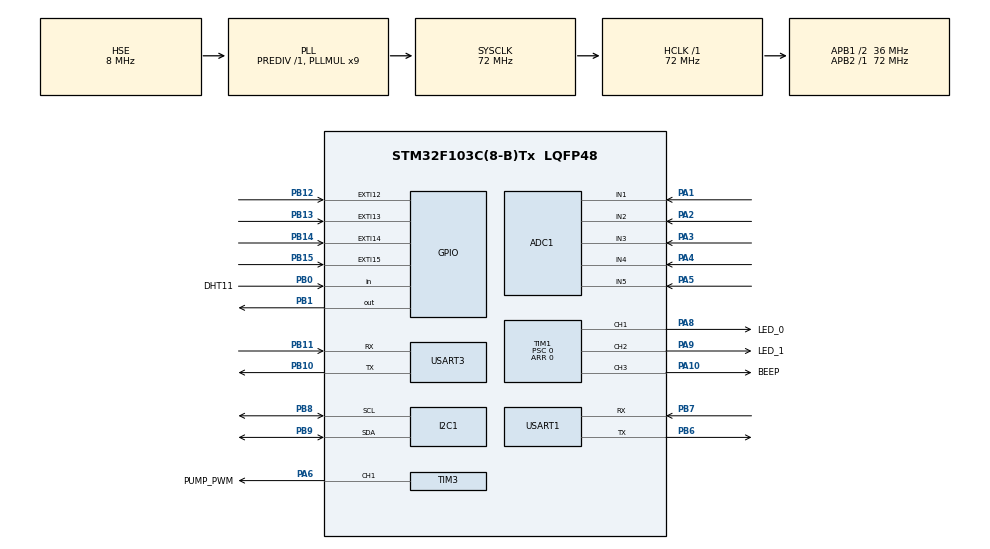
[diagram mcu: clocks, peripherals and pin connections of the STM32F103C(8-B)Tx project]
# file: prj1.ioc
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ADC1.Channel-4\#ChannelRegularConversion=ADC_CHANNEL_4
ADC1.Channel-5\#ChannelRegularConversion=ADC_CHANNEL_5
ADC1.Channel-6\#ChannelRegularConversion=ADC_CHANNEL_1
ADC1.Channel-7\#ChannelRegularConversion=ADC_CHANNEL_2
ADC1.Channel-8\#ChannelRegularConversion=ADC_CHANNEL_3
ADC1.ContinuousConvMode=ENABLE
ADC1.ExternalTrigConv=ADC_EXTERNALTRIGCONV_T4_CC4
ADC1.NbrOfConversion=5
ADC1.NbrOfConversionFlag=1
ADC1.Rank-4\#ChannelRegularConversion=1
ADC1.Rank-5\#ChannelRegularConversion=2
ADC1.Rank-6\#ChannelRegularConversion=3
ADC1.Rank-7\#ChannelRegularConversion=4
ADC1.Rank-8\#ChannelRegularConversion=5
ADC1.SamplingTime-4\#ChannelRegularConversion=ADC_SAMPLETIME_239CYCLES_5
ADC1.SamplingTime-5\#ChannelRegularConversion=ADC_SAMPLETIME_239CYCLES_5
ADC1.SamplingTime-6\#ChannelRegularConversion=ADC_SAMPLETIME_239CYCLES_5
ADC1.SamplingTime-7\#ChannelRegularConversion=ADC_SAMPLETIME_239CYCLES_5
ADC1.SamplingTime-8\#ChannelRegularConversion=ADC_SAMPLETIME_239CYCLES_5
ADC1.master=1
Dma.ADC1.0.Direction=DMA_PERIPH_TO_MEMORY
Dma.ADC1.0.Instance=DMA1_Channel1
Dma.ADC1.0.MemDataAlignment=DMA_MDATAALIGN_HALFWORD
Dma.ADC1.0.MemInc=DMA_MINC_ENABLE
Dma.ADC1.0.Mode=DMA_CIRCULAR
Dma.ADC1.0.PeriphDataAlignment=DMA_PDATAALIGN_HALFWORD
Dma.ADC1.0.PeriphInc=DMA_PINC_DISABLE
Dma.ADC1.0.Priority=DMA_PRIORITY_LOW
Dma.Request0=ADC1
Dma.Request1=USART3_TX
Dma.Request2=USART3_RX
Dma.USART3_RX.2.Direction=DMA_PERIPH_TO_MEMORY
Dma.USART3_RX.2.Instance=DMA1_Channel3
Dma.USART3_RX.2.MemDataAlignment=DMA_MDATAALIGN_BYTE
Dma.USART3_RX.2.MemInc=DMA_MINC_ENABLE
Dma.USART3_RX.2.Mode=DMA_CIRCULAR
Dma.USART3_RX.2.PeriphDataAlignment=DMA_PDATAALIGN_BYTE
Dma.USART3_RX.2.PeriphInc=DMA_PINC_DISABLE
Dma.USART3_RX.2.Priority=DMA_PRIORITY_LOW
Dma.USART3_TX.1.Direction=DMA_MEMORY_TO_PERIPH
Dma.USART3_TX.1.Instance=DMA1_Channel2
Dma.USART3_TX.1.MemDataAlignment=DMA_MDATAALIGN_BYTE
Dma.USART3_TX.1.MemInc=DMA_MINC_ENABLE
Dma.USART3_TX.1.Mode=DMA_NORMAL
Dma.USART3_TX.1.PeriphDataAlignment=DMA_PDATAALIGN_BYTE
Dma.USART3_TX.1.PeriphInc=DMA_PINC_DISABLE
Dma.USART3_TX.1.Priority=DMA_PRIORITY_LOW
I2C1.I2C_Mode=I2C_Fast
Mcu.Family=STM32F1
Mcu.Name=STM32F103C(8-B)Tx
Mcu.Package=LQFP48
NVIC.ADC1_2_IRQn=true\:0\:0\:false\:false\:true\:true\:true\:true
NVIC.DMA1_Channel1_IRQn=true\:0\:0\:false\:false\:true\:false\:true\:true
NVIC.DMA1_Channel2_IRQn=true\:0\:0\:false\:false\:true\:false\:true\:true
NVIC.DMA1_Channel3_IRQn=true\:0\:0\:false\:false\:true\:false\:true\:true
NVIC.EXTI15_10_IRQn=true\:1\:0\:true\:false\:true\:true\:true\:true
NVIC.PriorityGroup=NVIC_PRIORITYGROUP_4
NVIC.TIM2_IRQn=true\:2\:0\:true\:false\:true\:true\:true\:true
NVIC.USART3_IRQn=true\:0\:0\:false\:false\:true\:true\:true\:true
PA1.Signal=ADCx_IN1
PA10.GPIO_Label=BEEP
PA10.Signal=S_TIM1_CH3
PA13.Mode=Serial_Wire
PA13.Signal=SYS_JTMS-SWDIO
PA14.Mode=Serial_Wire
PA14.Signal=SYS_JTCK-SWCLK
PA2.Signal=ADCx_IN2
PA3.Signal=ADCx_IN3
PA4.Signal=ADCx_IN4
PA5.Signal=ADCx_IN5
PA6.GPIO_Label=PUMP_PWM
PA6.Signal=S_TIM3_CH1
PA8.GPIO_Label=LED_0
PA8.Signal=S_TIM1_CH1
PA9.GPIO_Label=LED_1
PA9.Signal=S_TIM1_CH2
PB0.GPIO_Label=DHT11
PB0.GPIO_Mode=GPIO_MODE_INPUT
PB0.GPIO_PuPd=GPIO_PULLUP
PB0.Signal=GPIO_Input
PB1.Signal=GPIO_Output
PB10.Mode=Asynchronous
PB10.Signal=USART3_TX
PB11.Mode=Asynchronous
PB11.Signal=USART3_RX
PB12.GPIO_PuPd=GPIO_PULLDOWN
PB12.Signal=GPXTI12
PB13.GPIO_PuPd=GPIO_PULLDOWN
PB13.Signal=GPXTI13
PB14.GPIO_PuPd=GPIO_PULLDOWN
PB14.Signal=GPXTI14
PB15.GPIO_PuPd=GPIO_PULLDOWN
PB15.Signal=GPXTI15
PB6.Mode=Asynchronous
PB6.Signal=USART1_TX
PB7.Mode=Asynchronous
PB7.Signal=USART1_RX
PB8.Mode=I2C
PB8.Signal=I2C1_SCL
PB9.Mode=I2C
PB9.Signal=I2C1_SDA
PC14-OSC32_IN.Mode=LSE-External-Oscillator
PC14-OSC32_IN.Signal=RCC_OSC32_IN
PC15-OSC32_OUT.Mode=LSE-External-Oscillator
PC15-OSC32_OUT.Signal=RCC_OSC32_OUT
PD0-OSC_IN.Mode=HSE-External-Oscillator
PD0-OSC_IN.Signal=RCC_OSC_IN
PD1-OSC_OUT.Mode=HSE-External-Oscillator
PD1-OSC_OUT.Signal=RCC_OSC_OUT
ProjectManager.HeapSize=0x200
ProjectManager.StackSize=0x400
ProjectManager.TargetToolchain=STM32CubeIDE
RCC.ADCPresc=RCC_ADCPCLK2_DIV6
RCC.AHBFreq_Value=72000000
RCC.APB1CLKDivider=RCC_HCLK_DIV2
RCC.APB1Freq_Value=36000000
RCC.APB1TimFreq_Value=72000000
RCC.APB2Freq_Value=72000000
RCC.APB2TimFreq_Value=72000000
RCC.HCLKFreq_Value=72000000
RCC.PLLMUL=RCC_PLL_MUL9
RCC.PLLSourceVirtual=RCC_PLLSOURCE_HSE
RCC.RTCClockSelection=RCC_RTCCLKSOURCE_LSE
RCC.SYSCLKFreq_VALUE=72000000
RCC.SYSCLKSource=RCC_SYSCLKSOURCE_PLLCLK
RCC.USBFreq_Value=48000000
RCC.USBPrescaler=RCC_USBCLKSOURCE_PLL_DIV1_5
SH.ADCx_IN1.0=ADC1_IN1,IN1
SH.ADCx_IN2.0=ADC1_IN2,IN2
SH.ADCx_IN3.0=ADC1_IN3,IN3
SH.ADCx_IN4.0=ADC1_IN4,IN4
SH.ADCx_IN5.0=ADC1_IN5,IN5
SH.S_TIM1_CH1.0=TIM1_CH1,PWM Generation1 CH1
SH.S_TIM1_CH2.0=TIM1_CH2,PWM Generation2 CH2
SH.S_TIM1_CH3.0=TIM1_CH3,PWM Generation3 CH3
SH.S_TIM3_CH1.0=TIM3_CH1,PWM Generation1 CH1
TIM1.Channel-PWM\ Generation1\ CH1=TIM_CHANNEL_1
TIM1.Channel-PWM\ Generation2\ CH2=TIM_CHANNEL_2
TIM1.Channel-PWM\ Generation3\ CH3=TIM_CHANNEL_3
TIM1.OCIdleState_2=TIM_OCIDLESTATE_SET
TIM1.OCMode_PWM-PWM\ Generation1\ CH1=TIM_OCMODE_PWM2
TIM1.OCMode_PWM-PWM\ Generation2\ CH2=TIM_OCMODE_PWM1
TIM1.OCPolarity_2=TIM_OCPOLARITY_HIGH
TIM1.Period=0
TIM1.Prescaler=0
TIM1.Pulse-PWM\ Generation1\ CH1=1
TIM1.Pulse-PWM\ Generation2\ CH2=70
TIM1.Pulse-PWM\ Generation3\ CH3=1
TIM2.Period=10000-1
TIM2.Prescaler=7200-1
TIM3.Channel-PWM\ Generation1\ CH1=TIM_CHANNEL_1
TIM3.Period=720
TIM3.Prescaler=0
TIM3.Pulse-PWM\ Generation1\ CH1=0
TIM4.Channel-Output\ Compare4\ No\ Output=TIM_CHANNEL_4
TIM4.OCMode_4=TIM_OCMODE_TOGGLE
TIM4.Period=72-1
TIM4.Pulse-Output\ Compare4\ No\ Output=36
USART1.VirtualMode=VM_ASYNC
USART3.VirtualMode=VM_ASYNC
VP_TIM1_VS_ClockSourceINT.Mode=Internal
VP_TIM2_VS_ClockSourceINT.Mode=Internal
VP_TIM3_VS_ClockSourceINT.Mode=Internal
VP_TIM4_VS_ClockSourceINT.Mode=Internal
VP_TIM4_VS_no_output4.Mode=Output Compare4 No Output
board=custom

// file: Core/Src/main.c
/* USER CODE BEGIN Header */
/**
  ******************************************************************************
  * @file           : main.c
  * @brief          : Main program body
  ******************************************************************************
  * @attention
  *
  * Copyright (c) 2024 STMicroelectronics.
  * All rights reserved.
  *
  * This software is licensed under terms that can be found in the LICENSE file
  * in the root directory of this software component.
  * If no LICENSE file comes with this software, it is provided AS-IS.
  *
  ******************************************************************************
  */
/* USER CODE END Header */
#include "main.h"

/* USER CODE BEGIN Includes */
//#include "usbd_cdc_if.h"
#include "ssd1306_Views.h"
#include "buzzer.h"

#include "AT_WIFI.h"
#include "DHT.h"
#include <stdio.h>
#include <string.h>

/* USER CODE END Includes */

/* USER CODE BEGIN PTD */
#define CDC_BUFFER_SIZE 30

/* USER CODE END PTD */

ADC_HandleTypeDef hadc1;
DMA_HandleTypeDef hdma_adc1;

I2C_HandleTypeDef hi2c1;

TIM_HandleTypeDef htim1;
TIM_HandleTypeDef htim2;
TIM_HandleTypeDef htim3;
TIM_HandleTypeDef htim4;

UART_HandleTypeDef huart1;
UART_HandleTypeDef huart3;
DMA_HandleTypeDef hdma_usart3_tx;
DMA_HandleTypeDef hdma_usart3_rx;

/* USER CODE BEGIN PV */

//extern USBD_HandleTypeDef hUsbDeviceFS;

/* USER CODE END PV */

void SystemClock_Config(void);
static void MX_GPIO_Init(void);
static void MX_DMA_Init(void);
static void MX_ADC1_Init(void);
static void MX_I2C1_Init(void);
static void MX_USART1_UART_Init(void);
static void MX_USART3_UART_Init(void);
static void MX_TIM1_Init(void);
static void MX_TIM3_Init(void);
static void MX_TIM4_Init(void);
static void MX_TIM2_Init(void);
/* USER CODE BEGIN PFP */

extern ESP_Config esp_config;

uint8_t CDC_BUFFER[CDC_BUFFER_SIZE]={0};

uint16_t ADC_BUFFER = 0;

uint16_t PUMP_PWM=100;

uint8_t FLAG_MUTE = 1;

uint16_t PUMP[5]={0,0};

WiFiInfoTypeDef WiFiInfo={0};
IPInfoTypeDef IPInfo={0};
DHT_data DHT11_Info={0};
DHT_data DHT11_Alarm_H={70,30};
DHT_data DHT11_Alarm_L={30,20};

DHT_sensor DHT11_Sensor = {GPIOB, GPIO_PIN_0, DHT11, GPIO_NOPULL};
BuzzerTypeDef buzzer = {&htim1, TIM_CHANNEL_3, 100, 36};

uint8_t CurrentView=1;

char *settings[] = {"TempH", "TempL", "Hum H", "Hum L"};
uint8_t FLAG_NowSettingVal = 1;
uint8_t FLAG_CheckWifi = 1;
uint8_t FLAG_CheckDHT = 1;
uint8_t FLAG_SentTCP = 1;
uint8_t FLAG_CheckSoil = 1;

uint8_t FLAG_DHT_ALARM=0;

volatile uint32_t CNT_TIMER2 = 0;

typedef struct {
    uint32_t hours;
    uint32_t minutes;
    uint32_t seconds;
} TimeTypedef;

TimeTypedef Time={0};
TimeTypedef ALARM_Time={0};
uint32_t ALARM_Time_Second=0;

char *TimerStates[] = {"Wake", "Sleep", "Normal"};
uint8_t FLAG_CurrentTimerStates = 2;

volatile uint8_t FLAG_SentKEY0 = 0;
volatile uint8_t FLAG_SentKEY1 = 0;
volatile uint8_t FLAG_SentKEY2 = 0;
volatile uint8_t FLAG_SentKEY3 = 0;

uint16_t PWM_LED1_VAL=0;
uint8_t PWM_LED_Inverse=1;

/* USER CODE END PFP */

/* USER CODE BEGIN 0 */
void convertSecondsToTime(uint32_t total_seconds, TimeTypedef* time)
{
    time->hours = total_seconds / 3600;
    time->minutes = (total_seconds%3600) / 60;
    time->seconds = total_seconds % 60;
}

uint32_t convertTimeToSeconds(TimeTypedef* time) {
    return (time->hours * 3600) + (time->minutes * 60) + time->seconds;
}

void ssd1306_NoticeView(const char* notice)
{
    uint8_t msg[100];
    ssd1306_Fill(Black);
    ssd1306_SetCursor(0, 0);
    sprintf((char*)msg, "NOTICE");
    ssd1306_WriteString((char*)msg, Font_11x18, White);
    ssd1306_SetCursor(0, 30);
    sprintf((char*)msg, "%s", notice);
    ssd1306_WriteString((char*)msg, Font_11x18, White);
    ssd1306_UpdateScreen();
}

void ssd1306_WelcomeView(){
	uint8_t msg[100];
	ssd1306_Fill(Black);
	ssd1306_SetCursor(0, 0);
	sprintf(msg, "BOOTING");
	ssd1306_WriteString(msg, Font_11x18, White);
	ssd1306_SetCursor(0, 25);
	sprintf(msg, "Course PrjC");
	ssd1306_WriteString(msg, Font_11x18, White);
	ssd1306_SetCursor(0, 50);
	sprintf(msg, "Initialing...");
	ssd1306_WriteString(msg, Font_7x10, White);
	ssd1306_UpdateScreen();
}

void ssd1306_IndexView(){
	uint8_t msg[100];
	ssd1306_Fill(Black);
	ssd1306_SetCursor(0, 0);
	sprintf(msg, "Index");
	ssd1306_WriteString(msg, Font_11x18, White);

	ssd1306_SetCursor(70, 0);
	sprintf(msg, "%s",TimerStates[FLAG_CurrentTimerStates]);
	ssd1306_WriteString(msg, Font_7x10, White);

	ssd1306_SetCursor(0, 18);
	sprintf(msg, "RUN TIME");
	ssd1306_WriteString(msg, Font_6x8, White);
	ssd1306_SetCursor(0, 26);
	sprintf(msg, "%02u:%02u:%02u", Time.hours, Time.minutes, Time.seconds);
	ssd1306_WriteString(msg, Font_7x10, White);

	ssd1306_SetCursor(64, 18);
	sprintf(msg, "SET RUN TIME");
	ssd1306_WriteString(msg, Font_6x8, White);
	ssd1306_SetCursor(64, 26);
	sprintf(msg, "%02u:%02u:%02u", ALARM_Time.hours, ALARM_Time.minutes, ALARM_Time.seconds);
	ssd1306_WriteString(msg, Font_7x10, White);

	ssd1306_SetCursor(0, 40);
	sprintf(msg, "DHT:%s\n", FLAG_DHT_ALARM ? "ALARM" : "NORMAL");
	ssd1306_WriteString(msg, Font_7x10, White);

	ssd1306_SetCursor(0 , 56);
	sprintf(msg, "DHT");
	ssd1306_WriteString(msg, Font_6x8, White);
	ssd1306_SetCursor(32, 56);
	sprintf(msg, "PUMP");
	ssd1306_WriteString(msg, Font_6x8, White);
	ssd1306_SetCursor(64, 56);
	sprintf(msg, "BEEP");
	ssd1306_WriteString(msg, Font_6x8, White);
	ssd1306_SetCursor(96, 56);
	sprintf(msg, "NET");
	ssd1306_WriteString(msg, Font_6x8, White);
	ssd1306_UpdateScreen();
}

void ssd1306_NetWorkView(){
	uint8_t msg[100];
	ssd1306_Fill(Black);
	ssd1306_SetCursor(0, 0);
	sprintf(msg, "NETWORK %d",WiFiInfo.rssi);
	ssd1306_WriteString(msg, Font_11x18, White);
	ssd1306_SetCursor(0, 18);
	sprintf(msg, "%s",esp_config.ap_ssid);
	ssd1306_WriteString(msg, Font_7x10, White);
	ssd1306_SetCursor(0, 31);
	sprintf(msg, "AP :%s",IPInfo.AP_IP);
	ssd1306_WriteString(msg, Font_7x10, White);
	ssd1306_SetCursor(0, 43);
	sprintf(msg, "%s",WiFiInfo.ssid);
	ssd1306_WriteString(msg, Font_7x10, White);
	ssd1306_SetCursor(0, 54);
	sprintf(msg, "STA:%s",IPInfo.STA_IP);
	ssd1306_WriteString(msg, Font_7x10, White);
	ssd1306_UpdateScreen();
}

void ssd1306_SensorView(){
	uint8_t msg[100];
	ssd1306_Fill(Black);
	ssd1306_SetCursor(0, 0);
	sprintf(msg, "SENSOR");
	ssd1306_WriteString(msg, Font_11x18, White);
	ssd1306_SetCursor(0, 18);
	sprintf(msg, "T:%dC",(uint8_t)DHT11_Info.temp);
	ssd1306_WriteString(msg, Font_11x18, White);
	ssd1306_SetCursor(64, 18);
	sprintf(msg, "H:%d%%",(uint8_t)DHT11_Info.hum);
	ssd1306_WriteString(msg, Font_11x18, White);
	ssd1306_SetCursor(0, 36);
	sprintf(msg, "L:%d",(uint8_t)DHT11_Alarm_L.temp);
	ssd1306_WriteString(msg, Font_7x10, White);
	ssd1306_SetCursor(32, 36);
	sprintf(msg, "H:%d",(uint8_t)DHT11_Alarm_H.temp);
	ssd1306_WriteString(msg, Font_7x10, White);
	ssd1306_SetCursor(64, 36);
	sprintf(msg, "L:%d",(uint8_t)DHT11_Alarm_L.hum);
	ssd1306_WriteString(msg, Font_7x10, White);
	ssd1306_SetCursor(96, 36);
	sprintf(msg, "H:%d",(uint8_t)DHT11_Alarm_H.hum);
	ssd1306_WriteString(msg, Font_7x10, White);
	ssd1306_SetCursor(0, 46);
	sprintf(msg, "SOIL");
	ssd1306_WriteString(msg, Font_7x10, White);
	ssd1306_SetCursor(32, 46);
	sprintf(msg, "%d",PUMP[2]);
	ssd1306_WriteString(msg, Font_7x10, White);
	ssd1306_SetCursor(64, 46);
	sprintf(msg, "%d",PUMP[3]);
	ssd1306_WriteString(msg, Font_7x10, White);
	ssd1306_SetCursor(96, 46);
	sprintf(msg, "%d",PUMP[4]);
	ssd1306_WriteString(msg, Font_7x10, White);
	ssd1306_SetCursor(0 , 56);
	sprintf(msg, "<");
	ssd1306_WriteString(msg, Font_6x8, White);
	ssd1306_SetCursor(16, 56);
	sprintf(msg, "%s", settings[FLAG_NowSettingVal]);
	ssd1306_WriteString(msg, Font_6x8, White);
	ssd1306_SetCursor(64, 56);
	sprintf(msg, " \\/");
	ssd1306_WriteString(msg, Font_6x8, White);
	ssd1306_SetCursor(96, 56);
	sprintf(msg, " /\\");
	ssd1306_WriteString(msg, Font_6x8, White);
	ssd1306_UpdateScreen();
}

void ssd1306_PumpView(){
	uint8_t msg[100];
	ssd1306_Fill(Black);
	ssd1306_SetCursor(0, 0);
	sprintf(msg, "PUMP");
	ssd1306_WriteString(msg, Font_11x18, White);

	ssd1306_SetCursor(70, 0);
	sprintf(msg, "%s",TimerStates[FLAG_CurrentTimerStates]);
	ssd1306_WriteString(msg, Font_7x10, White);

	ssd1306_SetCursor(0, 18);
	sprintf(msg, "U:%d\r\n", PUMP[0]);
	ssd1306_WriteString(msg, Font_11x18, White);
	ssd1306_SetCursor(64, 18);
	sprintf(msg, "I:%d\r\n", PUMP[1]);
	ssd1306_WriteString(msg, Font_11x18, White);
	ssd1306_SetCursor(0, 36);
	sprintf(msg, "Duty:%d", PUMP_PWM);
	ssd1306_WriteString(msg, Font_11x18, White);
	ssd1306_SetCursor(110, 36);
	sprintf(msg, "MAX");
	ssd1306_WriteString(msg, Font_6x8, White);
	ssd1306_SetCursor(110, 45);
	sprintf(msg, "720");
	ssd1306_WriteString(msg, Font_6x8, White);
	ssd1306_SetCursor(0 , 56);
	sprintf(msg, "<");
	ssd1306_WriteString(msg, Font_6x8, White);
	ssd1306_SetCursor(16, 56);
	sprintf(msg, "TimeSet");
	ssd1306_WriteString(msg, Font_6x8, White);
	ssd1306_SetCursor(64, 56);
	sprintf(msg, " \\/");
	ssd1306_WriteString(msg, Font_6x8, White);
	ssd1306_SetCursor(96, 56);
	sprintf(msg, " /\\");
	ssd1306_WriteString(msg, Font_6x8, White);
	ssd1306_UpdateScreen();
}

void ssd1306_BuzzerView(){
	uint8_t msg[100];
	ssd1306_Fill(Black);
	ssd1306_SetCursor(0, 0);
	sprintf(msg, "BUZZER");
	ssd1306_WriteString(msg, Font_11x18, White);
	ssd1306_SetCursor(0, 18);
	sprintf(msg, "FREQ:%d\r\n",buzzer.frequency );
	ssd1306_WriteString(msg, Font_11x18, White);
	ssd1306_SetCursor(0, 36);
    sprintf(msg, "MUTE: %s\r\n", FLAG_MUTE ? "ON" : "OFF");
    ssd1306_WriteString(msg, Font_11x18, White);
	ssd1306_SetCursor(0 , 56);
	sprintf(msg, "<");
	ssd1306_WriteString(msg, Font_6x8, White);
	ssd1306_SetCursor(24, 56);
	sprintf(msg, "MUTE");
	ssd1306_WriteString(msg, Font_6x8, White);
	ssd1306_SetCursor(64, 56);
	sprintf(msg, " \\/");
	ssd1306_WriteString(msg, Font_6x8, White);
	ssd1306_SetCursor(96, 56);
	sprintf(msg, " /\\");
	ssd1306_WriteString(msg, Font_6x8, White);
	ssd1306_UpdateScreen();
}

ssd1306_ConfigView(){
	uint8_t msg[100];
	ssd1306_Fill(Black);
	ssd1306_SetCursor(0, 0);
	sprintf(msg, "CONFIG");
	ssd1306_WriteString(msg, Font_11x18, White);
	ssd1306_SetCursor(70, 0);
	sprintf(msg, "%s",TimerStates[FLAG_CurrentTimerStates]);
	ssd1306_WriteString(msg, Font_7x10, White);
	ssd1306_SetCursor(0, 18);
	sprintf(msg, "RUN TIME");
	ssd1306_WriteString(msg, Font_6x8, White);
	ssd1306_SetCursor(0, 26);
	sprintf(msg, "%02u:%02u:%02u", Time.hours, Time.minutes, Time.seconds);
	ssd1306_WriteString(msg, Font_7x10, White);
	ssd1306_SetCursor(0, 36);
	sprintf(msg, "SET TIME");
	ssd1306_WriteString(msg, Font_6x8, White);
	ssd1306_SetCursor(0, 44);
	sprintf(msg, "%02u:%02u:%02u", ALARM_Time.hours, ALARM_Time.minutes, ALARM_Time.seconds);
	ssd1306_WriteString(msg, Font_7x10, White);
	ssd1306_SetCursor(0, 56);
	sprintf(msg, "<");
	ssd1306_WriteString(msg, Font_6x8, White);
	ssd1306_SetCursor(32, 56);
	sprintf(msg, "+h");
	ssd1306_WriteString(msg, Font_6x8, White);
	ssd1306_SetCursor(64, 56);
	sprintf(msg, "+m");
	ssd1306_WriteString(msg, Font_6x8, White);
	ssd1306_SetCursor(96, 56);
	sprintf(msg, "+s");
	ssd1306_WriteString(msg, Font_6x8, White);
	ssd1306_UpdateScreen();
}

void KeyHandeler_WelcomeView(){

}
void KeyHandeler_IndexView(){
	if (FLAG_SentKEY0) {
		CurrentView=V_NETWORK;
		HAL_Delay(200);
		FLAG_SentKEY0=0;
	}else
	if (FLAG_SentKEY1) {
		CurrentView=V_BUZZER;
		HAL_Delay(200);
		FLAG_SentKEY1=0;
	}else
	if (FLAG_SentKEY2) {
		CurrentView=V_PUMP;
		HAL_Delay(200);
		FLAG_SentKEY2=0;
	}else
	if (FLAG_SentKEY3) {
		CurrentView=V_SENSOR;
		HAL_Delay(200);
		FLAG_SentKEY3=0;
	}
}

void KeyHandeler_NetWorkView(){
	if (FLAG_SentKEY0) {
		ssd1306_NoticeView("RESET_SERVER");
		ESP_RESET_SERVER();
		HAL_Delay(200);
		FLAG_SentKEY0=0;
	}else
	if (FLAG_SentKEY1) {
		ssd1306_NoticeView("INIT_BASE");
		ESP_INIT_BASE();
		HAL_Delay(200);
		FLAG_SentKEY1=0;
	}else
	if (FLAG_SentKEY2) {
		ssd1306_NoticeView("INIT_FULL");
		ESP_INIT_FULL();
		HAL_Delay(200);
		FLAG_SentKEY2=0;
	}else
	if (FLAG_SentKEY3) {
		CurrentView=V_INDEX;
		HAL_Delay(200);
		FLAG_SentKEY3=0;
	}
}
void KeyHandeler_SensorView(){
	if (FLAG_SentKEY0) {
		switch (FLAG_NowSettingVal) {
			case 0:
				DHT11_Alarm_H.temp++;
				break;
			case 1:
				DHT11_Alarm_L.temp++;
				break;
			case 2:
				DHT11_Alarm_H.hum++;
				break;
			case 3:
				DHT11_Alarm_L.hum++;
				break;
			default:
				break;
		}
		HAL_Delay(200);
		FLAG_SentKEY0=0;
	}else
	if (FLAG_SentKEY1) {
		switch (FLAG_NowSettingVal) {
			case 0:
				DHT11_Alarm_H.temp--;
				break;
			case 1:
				DHT11_Alarm_L.temp--;
				break;
			case 2:
				DHT11_Alarm_H.hum--;
				break;
			case 3:
				DHT11_Alarm_L.hum--;
				break;
			default:
				break;
		}
		HAL_Delay(200);
		FLAG_SentKEY1=0;
	}else
	if (FLAG_SentKEY2) {
		if (FLAG_NowSettingVal++>2) {
			FLAG_NowSettingVal=0;
		}
		HAL_Delay(200);
		FLAG_SentKEY2=0;
	}else
	if (FLAG_SentKEY3) {
		CurrentView=V_INDEX;
		HAL_Delay(200);
		FLAG_SentKEY3=0;
	}
}
void KeyHandeler_PumpView(){
	if (FLAG_SentKEY0) {
		PUMP_PWM=PUMP_PWM+10;
	    __HAL_TIM_SET_COMPARE(&htim3, TIM_CHANNEL_1, PUMP_PWM);
		HAL_Delay(200);
		FLAG_SentKEY0=0;
	}else
	if (FLAG_SentKEY1) {
		PUMP_PWM=PUMP_PWM-10;
	    __HAL_TIM_SET_COMPARE(&htim3, TIM_CHANNEL_1, PUMP_PWM);
		HAL_Delay(200);
		FLAG_SentKEY1=0;
	}else
	if (FLAG_SentKEY2) {
		CurrentView=V_CONFIG;
		if (++FLAG_CurrentTimerStates>2) {
			FLAG_CurrentTimerStates=0;
		}
		HAL_Delay(200);
		FLAG_SentKEY2=0;
	}else
	if (FLAG_SentKEY3) {
		CurrentView=V_INDEX;
		HAL_Delay(200);
		FLAG_SentKEY3=0;
	}
}
void KeyHandeler_BuzzerView(){
	if (FLAG_SentKEY0) {
		buzzer.frequency=buzzer.frequency+10;
		Buzzer_SetFrequency(&buzzer, buzzer.frequency);
		HAL_Delay(200);
		FLAG_SentKEY0=0;
	}else
	if (FLAG_SentKEY1) {
		buzzer.frequency=buzzer.frequency-10;
		Buzzer_SetFrequency(&buzzer, buzzer.frequency);
		HAL_Delay(200);
		FLAG_SentKEY1=0;
	}else
	if (FLAG_SentKEY2) {
		if (FLAG_MUTE) {
			Buzzer_SetVolume(&buzzer, 36);
			FLAG_MUTE=0;
		}else {
			Buzzer_SetVolume(&buzzer, 0);
			FLAG_MUTE=1;
		}
		HAL_Delay(200);
		FLAG_SentKEY2=0;
	}else
	if (FLAG_SentKEY3) {
		CurrentView=V_INDEX;
		HAL_Delay(200);
		FLAG_SentKEY3=0;
	}
}
void KeyHandeler_ConfigView(){
	if (FLAG_SentKEY0) {
		if (++ALARM_Time.seconds>60) {
			ALARM_Time.seconds=0;
		}
		ALARM_Time_Second=convertTimeToSeconds(&ALARM_Time);
		HAL_Delay(200);
		FLAG_SentKEY0=0;
	}else
	if (FLAG_SentKEY1) {
		if (++ALARM_Time.minutes>60) {
			ALARM_Time.minutes=0;
		}
		ALARM_Time_Second=convertTimeToSeconds(&ALARM_Time);
		HAL_Delay(200);
		FLAG_SentKEY1=0;
	}else
	if (FLAG_SentKEY2) {
		if (++ALARM_Time.hours>24) {
			ALARM_Time.hours=0;
		}
		ALARM_Time_Second=convertTimeToSeconds(&ALARM_Time);
		HAL_Delay(200);
		FLAG_SentKEY2=0;
	}else
	if (FLAG_SentKEY3) {
		CurrentView=V_PUMP;
		HAL_Delay(200);
		FLAG_SentKEY3=0;
	}

}

void KeyHandeler(uint8_t SWView) {
	if (SWView == V_WELCOME) {
	    KeyHandeler_WelcomeView();
	} else if (SWView == V_INDEX) {
	    KeyHandeler_IndexView();
	} else if (SWView == V_NETWORK) {
	    KeyHandeler_NetWorkView();
	} else if (SWView == V_SENSOR) {
	    KeyHandeler_SensorView();
	} else if (SWView == V_PUMP) {
	    KeyHandeler_PumpView();
	} else if (SWView == V_BUZZER) {
	    KeyHandeler_BuzzerView();
	} else if (SWView == V_CONFIG) {
	    KeyHandeler_ConfigView();
	}
}

void ShowView(uint8_t SWView) {
    switch (SWView) {
        case V_WELCOME:
            ssd1306_WelcomeView();
            break;
        case V_INDEX:
            ssd1306_IndexView();
            break;
        case V_NETWORK:
            ssd1306_NetWorkView();
            break;
        case V_SENSOR:
            ssd1306_SensorView();
            break;
        case V_PUMP:
            ssd1306_PumpView();
            break;
        case V_BUZZER:
            ssd1306_BuzzerView();
            break;
        case V_CONFIG:
		   ssd1306_ConfigView();
		   break;

        default:
            // Handle invalid view case
            break;
    }
}

uint8_t check_DHT11_Alarm(DHT_data current_data, DHT_data alarm_high, DHT_data alarm_low) {
    if (current_data.hum > alarm_high.hum || current_data.hum < alarm_low.hum ||
        current_data.temp > alarm_high.temp || current_data.temp < alarm_low.temp) {
        return 1;
    }
    return 0;
}

/* USER CODE END 0 */

int main(void)
{

  /* MCU Configuration--------------------------------------------------------*/

  /* Reset of all peripherals, Initializes the Flash interface and the Systick. */
  HAL_Init();

  /* Configure the system clock */
  SystemClock_Config();

  /* Initialize all configured peripherals */
  MX_GPIO_Init();
  MX_DMA_Init();
  MX_ADC1_Init();
  MX_I2C1_Init();
  MX_USART1_UART_Init();
  MX_USART3_UART_Init();
  MX_TIM1_Init();
  MX_TIM3_Init();
  MX_TIM4_Init();
  MX_TIM2_Init();
  /* USER CODE BEGIN 2 */
  HAL_ADC_Start(&hadc1);
  ssd1306_Init();
  ssd1306_WelcomeView();

  HAL_TIM_Base_Start_IT(&htim2);

  HAL_TIM_Base_Start(&htim1);
  HAL_TIM_PWM_Start(&htim1, TIM_CHANNEL_1);
  HAL_TIM_PWM_Start(&htim1, TIM_CHANNEL_2);
//  HAL_TIM_PWM_Start(&htim1, TIM_CHANNEL_3);

  HAL_TIM_Base_Start(&htim3);
  HAL_TIM_PWM_Start(&htim3, TIM_CHANNEL_1);
  HAL_TIM_Base_Start(&htim4);

  HAL_ADC_Start_DMA(&hadc1, (uint32_t*)PUMP, 5);

  ESP_UART_Init(&huart3);
//  ESP_INIT_FULL();
  ESP_INIT_BASE();
  HAL_Delay(100);

	WiFiInfo=ESP_CheckWiFi();
	  HAL_Delay(100);
	IPInfo=ESP_GetIPInfo();
  ssd1306_NetWorkView();

  Buzzer_Init(&buzzer);
  Buzzer_SetVolume(&buzzer, 36);

  HAL_Delay(100);
  Buzzer_SetFrequency(&buzzer, 200);
  HAL_Delay(100);
  Buzzer_SetFrequency(&buzzer, 300);
  HAL_Delay(100);
  Buzzer_SetFrequency(&buzzer, 400);
  HAL_Delay(100);
  Buzzer_SetFrequency(&buzzer, 500);
  HAL_Delay(100);

//  playMelody(&buzzer);

  Buzzer_SetVolume(&buzzer, 0);
  HAL_Delay(100);

  /* USER CODE END 2 */

  /* Infinite loop */
  /* USER CODE BEGIN WHILE */
  while (1)
  {

	  if (FLAG_CheckDHT) {
			DHT11_Info = DHT_getData(&DHT11_Sensor);
			FLAG_DHT_ALARM=check_DHT11_Alarm(DHT11_Info, DHT11_Alarm_H, DHT11_Alarm_L);
			FLAG_CheckDHT=0;
		}

		if (FLAG_SentTCP) {
			uint8_t msg[1000];
//			sprintf(msg, "DATA:T:%lf,H:%lf,Duty:%d,U:%d,I:%d\r\n", DHT11_Info.temp,DHT11_Info.hum,PUMP_PWM,PUMP[0],PUMP[1]);

			sprintf(msg,
			    "DATA:T:%.2lf,H:%.2lf,Duty:%d,U:%d,I:%d,Soil CH1:%d,Soil CH1:%d,Soil CH1:%d,CurrentView:%d,AlarmTime:%02d:%02d:%02d,"
			    "TempH:%d,TempL:%d,HumH:%d,HumL:%d,AlarmHighT:%d,AlarmHighH:%d,AlarmLowT:%d,AlarmLowH:%d,"
			    "FlagMute:%d,FlagNowSettingVal:%d,FlagCheckWifi:%d,FlagCheckDHT:%d,FlagSentTCP:%d,FlagCheckSoil:%d,"
			    "FlagDHTAlarm:%d,FlagCurrentTimerStates:%d,FlagSentKEY0:%d,FlagSentKEY1:%d,FlagSentKEY2:%d,FlagSentKEY3:%d,"
			    "PWMLED1Val:%d,PWMLEDInverse:%d\r\n",
			    DHT11_Info.temp, DHT11_Info.hum, PUMP_PWM, PUMP[0], PUMP[1],PUMP[3], PUMP[4],PUMP[5],
			    CurrentView, ALARM_Time.hours, ALARM_Time.minutes, ALARM_Time.seconds,
			    DHT11_Alarm_H.temp, DHT11_Alarm_L.temp, DHT11_Alarm_H.hum, DHT11_Alarm_L.hum,
			    FLAG_MUTE, FLAG_NowSettingVal, FLAG_CheckWifi, FLAG_CheckDHT, FLAG_SentTCP, FLAG_CheckSoil,
			    FLAG_DHT_ALARM, FLAG_CurrentTimerStates, FLAG_SentKEY0, FLAG_SentKEY1, FLAG_SentKEY2, FLAG_SentKEY3,
			    PWM_LED1_VAL, PWM_LED_Inverse);

			ESP_SendTCP(0,msg);

			  if(FLAG_CurrentTimerStates==1) {
			 		if (ALARM_Time_Second>CNT_TIMER2) {
			 			__HAL_TIM_SET_COMPARE(&htim3, TIM_CHANNEL_1, PUMP_PWM);
			 		}else {
			 			__HAL_TIM_SET_COMPARE(&htim3, TIM_CHANNEL_1, 0);
			 		}
			 	}

			  if(FLAG_CurrentTimerStates==0) {
			 		if (ALARM_Time_Second>CNT_TIMER2) {
			 			__HAL_TIM_SET_COMPARE(&htim3, TIM_CHANNEL_1, 0);
			 		}else {
			 			__HAL_TIM_SET_COMPARE(&htim3, TIM_CHANNEL_1, PUMP_PWM);
			 		}
			 	}

				convertSecondsToTime(CNT_TIMER2, &Time);
			  FLAG_SentTCP=0;
		}

		if (FLAG_CheckWifi) {
			WiFiInfo=ESP_CheckWiFi();
			HAL_Delay(100);
		    IPInfo=ESP_GetIPInfo();
			FLAG_CheckWifi=0;
		}

		if (PWM_LED_Inverse) {
			__HAL_TIM_SET_COMPARE(&htim1, TIM_CHANNEL_1, PWM_LED1_VAL);
			__HAL_TIM_SET_COMPARE(&htim1, TIM_CHANNEL_2, PWM_LED1_VAL);
			if (++PWM_LED1_VAL==72) {
				PWM_LED_Inverse=0;
			}
		}else {
			__HAL_TIM_SET_COMPARE(&htim1, TIM_CHANNEL_1, PWM_LED1_VAL);
			__HAL_TIM_SET_COMPARE(&htim1, TIM_CHANNEL_2, PWM_LED1_VAL);
			if (--PWM_LED1_VAL==0) {
				PWM_LED_Inverse=1;
			}

		}

		KeyHandeler(CurrentView);
		ShowView(CurrentView);

    /* USER CODE END WHILE */

  }
}

void SystemClock_Config(void)
{
  RCC_OscInitTypeDef RCC_OscInitStruct = {0};
  RCC_ClkInitTypeDef RCC_ClkInitStruct = {0};
  RCC_PeriphCLKInitTypeDef PeriphClkInit = {0};

  /** Initializes the RCC Oscillators according to the specified parameters
  * in the RCC_OscInitTypeDef structure.
  */
  RCC_OscInitStruct.OscillatorType = RCC_OSCILLATORTYPE_HSE;
  RCC_OscInitStruct.HSEState = RCC_HSE_ON;
  RCC_OscInitStruct.HSEPredivValue = RCC_HSE_PREDIV_DIV1;
  RCC_OscInitStruct.HSIState = RCC_HSI_ON;
  RCC_OscInitStruct.PLL.PLLState = RCC_PLL_ON;
  RCC_OscInitStruct.PLL.PLLSource = RCC_PLLSOURCE_HSE;
  RCC_OscInitStruct.PLL.PLLMUL = RCC_PLL_MUL9;
  if (HAL_RCC_OscConfig(&RCC_OscInitStruct) != HAL_OK)
  {
    Error_Handler();
  }

  /** Initializes the CPU, AHB and APB buses clocks
  */
  RCC_ClkInitStruct.ClockType = RCC_CLOCKTYPE_HCLK|RCC_CLOCKTYPE_SYSCLK
                              |RCC_CLOCKTYPE_PCLK1|RCC_CLOCKTYPE_PCLK2;
  RCC_ClkInitStruct.SYSCLKSource = RCC_SYSCLKSOURCE_PLLCLK;
  RCC_ClkInitStruct.AHBCLKDivider = RCC_SYSCLK_DIV1;
  RCC_ClkInitStruct.APB1CLKDivider = RCC_HCLK_DIV2;
  RCC_ClkInitStruct.APB2CLKDivider = RCC_HCLK_DIV1;

  if (HAL_RCC_ClockConfig(&RCC_ClkInitStruct, FLASH_LATENCY_2) != HAL_OK)
  {
    Error_Handler();
  }
  PeriphClkInit.PeriphClockSelection = RCC_PERIPHCLK_ADC;
  PeriphClkInit.AdcClockSelection = RCC_ADCPCLK2_DIV6;
  if (HAL_RCCEx_PeriphCLKConfig(&PeriphClkInit) != HAL_OK)
  {
    Error_Handler();
  }
}

static void MX_ADC1_Init(void)
{

  ADC_ChannelConfTypeDef sConfig = {0};

  /** Common config
  */
  hadc1.Instance = ADC1;
  hadc1.Init.ScanConvMode = ADC_SCAN_ENABLE;
  hadc1.Init.ContinuousConvMode = ENABLE;
  hadc1.Init.DiscontinuousConvMode = DISABLE;
  hadc1.Init.ExternalTrigConv = ADC_EXTERNALTRIGCONV_T4_CC4;
  hadc1.Init.DataAlign = ADC_DATAALIGN_RIGHT;
  hadc1.Init.NbrOfConversion = 5;
  if (HAL_ADC_Init(&hadc1) != HAL_OK)
  {
    Error_Handler();
  }

  /** Configure Regular Channel
  */
  sConfig.Channel = ADC_CHANNEL_4;
  sConfig.Rank = ADC_REGULAR_RANK_1;
  sConfig.SamplingTime = ADC_SAMPLETIME_239CYCLES_5;
  if (HAL_ADC_ConfigChannel(&hadc1, &sConfig) != HAL_OK)
  {
    Error_Handler();
  }

  /** Configure Regular Channel
  */
  sConfig.Channel = ADC_CHANNEL_5;
  sConfig.Rank = ADC_REGULAR_RANK_2;
  if (HAL_ADC_ConfigChannel(&hadc1, &sConfig) != HAL_OK)
  {
    Error_Handler();
  }

  /** Configure Regular Channel
  */
  sConfig.Channel = ADC_CHANNEL_1;
  sConfig.Rank = ADC_REGULAR_RANK_3;
  if (HAL_ADC_ConfigChannel(&hadc1, &sConfig) != HAL_OK)
  {
    Error_Handler();
  }

  /** Configure Regular Channel
  */
  sConfig.Channel = ADC_CHANNEL_2;
  sConfig.Rank = ADC_REGULAR_RANK_4;
  if (HAL_ADC_ConfigChannel(&hadc1, &sConfig) != HAL_OK)
  {
    Error_Handler();
  }

  /** Configure Regular Channel
  */
  sConfig.Channel = ADC_CHANNEL_3;
  sConfig.Rank = ADC_REGULAR_RANK_5;
  if (HAL_ADC_ConfigChannel(&hadc1, &sConfig) != HAL_OK)
  {
    Error_Handler();
  }

}

static void MX_I2C1_Init(void)
{

  hi2c1.Instance = I2C1;
  hi2c1.Init.ClockSpeed = 400000;
  hi2c1.Init.DutyCycle = I2C_DUTYCYCLE_2;
  hi2c1.Init.OwnAddress1 = 0;
  hi2c1.Init.AddressingMode = I2C_ADDRESSINGMODE_7BIT;
  hi2c1.Init.DualAddressMode = I2C_DUALADDRESS_DISABLE;
  hi2c1.Init.OwnAddress2 = 0;
  hi2c1.Init.GeneralCallMode = I2C_GENERALCALL_DISABLE;
  hi2c1.Init.NoStretchMode = I2C_NOSTRETCH_DISABLE;
  if (HAL_I2C_Init(&hi2c1) != HAL_OK)
  {
    Error_Handler();
  }

}

static void MX_TIM1_Init(void)
{

  TIM_ClockConfigTypeDef sClockSourceConfig = {0};
  TIM_MasterConfigTypeDef sMasterConfig = {0};
  TIM_OC_InitTypeDef sConfigOC = {0};
  TIM_BreakDeadTimeConfigTypeDef sBreakDeadTimeConfig = {0};

  htim1.Instance = TIM1;
  htim1.Init.Prescaler = 0;
  htim1.Init.CounterMode = TIM_COUNTERMODE_UP;
  htim1.Init.Period = 0;
  htim1.Init.ClockDivision = TIM_CLOCKDIVISION_DIV1;
  htim1.Init.RepetitionCounter = 0;
  htim1.Init.AutoReloadPreload = TIM_AUTORELOAD_PRELOAD_DISABLE;
  if (HAL_TIM_Base_Init(&htim1) != HAL_OK)
  {
    Error_Handler();
  }
  sClockSourceConfig.ClockSource = TIM_CLOCKSOURCE_INTERNAL;
  if (HAL_TIM_ConfigClockSource(&htim1, &sClockSourceConfig) != HAL_OK)
  {
    Error_Handler();
  }
  if (HAL_TIM_PWM_Init(&htim1) != HAL_OK)
  {
    Error_Handler();
  }
  sMasterConfig.MasterOutputTrigger = TIM_TRGO_RESET;
  sMasterConfig.MasterSlaveMode = TIM_MASTERSLAVEMODE_DISABLE;
  if (HAL_TIMEx_MasterConfigSynchronization(&htim1, &sMasterConfig) != HAL_OK)
  {
    Error_Handler();
  }
  sConfigOC.OCMode = TIM_OCMODE_PWM2;
  sConfigOC.Pulse = 1;
  sConfigOC.OCPolarity = TIM_OCPOLARITY_HIGH;
  sConfigOC.OCNPolarity = TIM_OCNPOLARITY_HIGH;
  sConfigOC.OCFastMode = TIM_OCFAST_DISABLE;
  sConfigOC.OCIdleState = TIM_OCIDLESTATE_RESET;
  sConfigOC.OCNIdleState = TIM_OCNIDLESTATE_RESET;
  if (HAL_TIM_PWM_ConfigChannel(&htim1, &sConfigOC, TIM_CHANNEL_1) != HAL_OK)
  {
    Error_Handler();
  }
  sConfigOC.OCMode = TIM_OCMODE_PWM1;
  sConfigOC.Pulse = 70;
  sConfigOC.OCIdleState = TIM_OCIDLESTATE_SET;
  if (HAL_TIM_PWM_ConfigChannel(&htim1, &sConfigOC, TIM_CHANNEL_2) != HAL_OK)
  {
    Error_Handler();
  }
  sConfigOC.Pulse = 1;
  sConfigOC.OCIdleState = TIM_OCIDLESTATE_RESET;
  if (HAL_TIM_PWM_ConfigChannel(&htim1, &sConfigOC, TIM_CHANNEL_3) != HAL_OK)
  {
    Error_Handler();
  }
  sBreakDeadTimeConfig.OffStateRunMode = TIM_OSSR_DISABLE;
  sBreakDeadTimeConfig.OffStateIDLEMode = TIM_OSSI_DISABLE;
  sBreakDeadTimeConfig.LockLevel = TIM_LOCKLEVEL_OFF;
  sBreakDeadTimeConfig.DeadTime = 0;
  sBreakDeadTimeConfig.BreakState = TIM_BREAK_DISABLE;
  sBreakDeadTimeConfig.BreakPolarity = TIM_BREAKPOLARITY_HIGH;
  sBreakDeadTimeConfig.AutomaticOutput = TIM_AUTOMATICOUTPUT_DISABLE;
  if (HAL_TIMEx_ConfigBreakDeadTime(&htim1, &sBreakDeadTimeConfig) != HAL_OK)
  {
    Error_Handler();
  }
  HAL_TIM_MspPostInit(&htim1);

}

static void MX_TIM2_Init(void)
{

  TIM_ClockConfigTypeDef sClockSourceConfig = {0};
  TIM_MasterConfigTypeDef sMasterConfig = {0};

  htim2.Instance = TIM2;
  htim2.Init.Prescaler = 7200-1;
  htim2.Init.CounterMode = TIM_COUNTERMODE_UP;
  htim2.Init.Period = 10000-1;
  htim2.Init.ClockDivision = TIM_CLOCKDIVISION_DIV1;
  htim2.Init.AutoReloadPreload = TIM_AUTORELOAD_PRELOAD_DISABLE;
  if (HAL_TIM_Base_Init(&htim2) != HAL_OK)
  {
    Error_Handler();
  }
  sClockSourceConfig.ClockSource = TIM_CLOCKSOURCE_INTERNAL;
  if (HAL_TIM_ConfigClockSource(&htim2, &sClockSourceConfig) != HAL_OK)
  {
    Error_Handler();
  }
  sMasterConfig.MasterOutputTrigger = TIM_TRGO_RESET;
  sMasterConfig.MasterSlaveMode = TIM_MASTERSLAVEMODE_DISABLE;
  if (HAL_TIMEx_MasterConfigSynchronization(&htim2, &sMasterConfig) != HAL_OK)
  {
    Error_Handler();
  }

}

static void MX_TIM3_Init(void)
{

  TIM_ClockConfigTypeDef sClockSourceConfig = {0};
  TIM_MasterConfigTypeDef sMasterConfig = {0};
  TIM_OC_InitTypeDef sConfigOC = {0};

  htim3.Instance = TIM3;
  htim3.Init.Prescaler = 0;
  htim3.Init.CounterMode = TIM_COUNTERMODE_UP;
  htim3.Init.Period = 720;
  htim3.Init.ClockDivision = TIM_CLOCKDIVISION_DIV1;
  htim3.Init.AutoReloadPreload = TIM_AUTORELOAD_PRELOAD_DISABLE;
  if (HAL_TIM_Base_Init(&htim3) != HAL_OK)
  {
    Error_Handler();
  }
  sClockSourceConfig.ClockSource = TIM_CLOCKSOURCE_INTERNAL;
  if (HAL_TIM_ConfigClockSource(&htim3, &sClockSourceConfig) != HAL_OK)
  {
    Error_Handler();
  }
  if (HAL_TIM_PWM_Init(&htim3) != HAL_OK)
  {
    Error_Handler();
  }
  sMasterConfig.MasterOutputTrigger = TIM_TRGO_RESET;
  sMasterConfig.MasterSlaveMode = TIM_MASTERSLAVEMODE_DISABLE;
  if (HAL_TIMEx_MasterConfigSynchronization(&htim3, &sMasterConfig) != HAL_OK)
  {
    Error_Handler();
  }
  sConfigOC.OCMode = TIM_OCMODE_PWM1;
  sConfigOC.Pulse = 0;
  sConfigOC.OCPolarity = TIM_OCPOLARITY_HIGH;
  sConfigOC.OCFastMode = TIM_OCFAST_DISABLE;
  if (HAL_TIM_PWM_ConfigChannel(&htim3, &sConfigOC, TIM_CHANNEL_1) != HAL_OK)
  {
    Error_Handler();
  }
  HAL_TIM_MspPostInit(&htim3);

}

static void MX_TIM4_Init(void)
{

  TIM_ClockConfigTypeDef sClockSourceConfig = {0};
  TIM_MasterConfigTypeDef sMasterConfig = {0};
  TIM_OC_InitTypeDef sConfigOC = {0};

  htim4.Instance = TIM4;
  htim4.Init.Prescaler = 0;
  htim4.Init.CounterMode = TIM_COUNTERMODE_UP;
  htim4.Init.Period = 72-1;
  htim4.Init.ClockDivision = TIM_CLOCKDIVISION_DIV1;
  htim4.Init.AutoReloadPreload = TIM_AUTORELOAD_PRELOAD_DISABLE;
  if (HAL_TIM_Base_Init(&htim4) != HAL_OK)
  {
    Error_Handler();
  }
  sClockSourceConfig.ClockSource = TIM_CLOCKSOURCE_INTERNAL;
  if (HAL_TIM_ConfigClockSource(&htim4, &sClockSourceConfig) != HAL_OK)
  {
    Error_Handler();
  }
  if (HAL_TIM_OC_Init(&htim4) != HAL_OK)
  {
    Error_Handler();
  }
  sMasterConfig.MasterOutputTrigger = TIM_TRGO_RESET;
  sMasterConfig.MasterSlaveMode = TIM_MASTERSLAVEMODE_DISABLE;
  if (HAL_TIMEx_MasterConfigSynchronization(&htim4, &sMasterConfig) != HAL_OK)
  {
    Error_Handler();
  }
  sConfigOC.OCMode = TIM_OCMODE_TOGGLE;
  sConfigOC.Pulse = 36;
  sConfigOC.OCPolarity = TIM_OCPOLARITY_HIGH;
  sConfigOC.OCFastMode = TIM_OCFAST_DISABLE;
  if (HAL_TIM_OC_ConfigChannel(&htim4, &sConfigOC, TIM_CHANNEL_4) != HAL_OK)
  {
    Error_Handler();
  }

}

static void MX_USART1_UART_Init(void)
{

  huart1.Instance = USART1;
  huart1.Init.BaudRate = 115200;
  huart1.Init.WordLength = UART_WORDLENGTH_8B;
  huart1.Init.StopBits = UART_STOPBITS_1;
  huart1.Init.Parity = UART_PARITY_NONE;
  huart1.Init.Mode = UART_MODE_TX_RX;
  huart1.Init.HwFlowCtl = UART_HWCONTROL_NONE;
  huart1.Init.OverSampling = UART_OVERSAMPLING_16;
  if (HAL_UART_Init(&huart1) != HAL_OK)
  {
    Error_Handler();
  }

}

static void MX_USART3_UART_Init(void)
{

  huart3.Instance = USART3;
  huart3.Init.BaudRate = 115200;
  huart3.Init.WordLength = UART_WORDLENGTH_8B;
  huart3.Init.StopBits = UART_STOPBITS_1;
  huart3.Init.Parity = UART_PARITY_NONE;
  huart3.Init.Mode = UART_MODE_TX_RX;
  huart3.Init.HwFlowCtl = UART_HWCONTROL_NONE;
  huart3.Init.OverSampling = UART_OVERSAMPLING_16;
  if (HAL_UART_Init(&huart3) != HAL_OK)
  {
    Error_Handler();
  }

}

static void MX_DMA_Init(void)
{

  /* DMA controller clock enable */
  __HAL_RCC_DMA1_CLK_ENABLE();

  /* DMA interrupt init */
  /* DMA1_Channel1_IRQn interrupt configuration */
  HAL_NVIC_SetPriority(DMA1_Channel1_IRQn, 0, 0);
  HAL_NVIC_EnableIRQ(DMA1_Channel1_IRQn);
  /* DMA1_Channel2_IRQn interrupt configuration */
  HAL_NVIC_SetPriority(DMA1_Channel2_IRQn, 0, 0);
  HAL_NVIC_EnableIRQ(DMA1_Channel2_IRQn);
  /* DMA1_Channel3_IRQn interrupt configuration */
  HAL_NVIC_SetPriority(DMA1_Channel3_IRQn, 0, 0);
  HAL_NVIC_EnableIRQ(DMA1_Channel3_IRQn);

}

static void MX_GPIO_Init(void)
{
  GPIO_InitTypeDef GPIO_InitStruct = {0};

  /* GPIO Ports Clock Enable */
  __HAL_RCC_GPIOC_CLK_ENABLE();
  __HAL_RCC_GPIOD_CLK_ENABLE();
  __HAL_RCC_GPIOA_CLK_ENABLE();
  __HAL_RCC_GPIOB_CLK_ENABLE();

  /*Configure GPIO pin Output Level */
  HAL_GPIO_WritePin(GPIOB, GPIO_PIN_1, GPIO_PIN_RESET);

  /*Configure GPIO pin : DHT11_Pin */
  GPIO_InitStruct.Pin = DHT11_Pin;
  GPIO_InitStruct.Mode = GPIO_MODE_INPUT;
  GPIO_InitStruct.Pull = GPIO_PULLUP;
  HAL_GPIO_Init(DHT11_GPIO_Port, &GPIO_InitStruct);

  /*Configure GPIO pin : PB1 */
  GPIO_InitStruct.Pin = GPIO_PIN_1;
  GPIO_InitStruct.Mode = GPIO_MODE_OUTPUT_PP;
  GPIO_InitStruct.Pull = GPIO_NOPULL;
  GPIO_InitStruct.Speed = GPIO_SPEED_FREQ_LOW;
  HAL_GPIO_Init(GPIOB, &GPIO_InitStruct);

  /*Configure GPIO pins : PB12 PB13 PB14 PB15 */
  GPIO_InitStruct.Pin = GPIO_PIN_12|GPIO_PIN_13|GPIO_PIN_14|GPIO_PIN_15;
  GPIO_InitStruct.Mode = GPIO_MODE_IT_RISING;
  GPIO_InitStruct.Pull = GPIO_PULLDOWN;
  HAL_GPIO_Init(GPIOB, &GPIO_InitStruct);

  /* EXTI interrupt init*/
  HAL_NVIC_SetPriority(EXTI15_10_IRQn, 1, 0);
  HAL_NVIC_EnableIRQ(EXTI15_10_IRQn);

}

void Error_Handler(void)
{
  __disable_irq();
  while (1)
  {
  }
}
